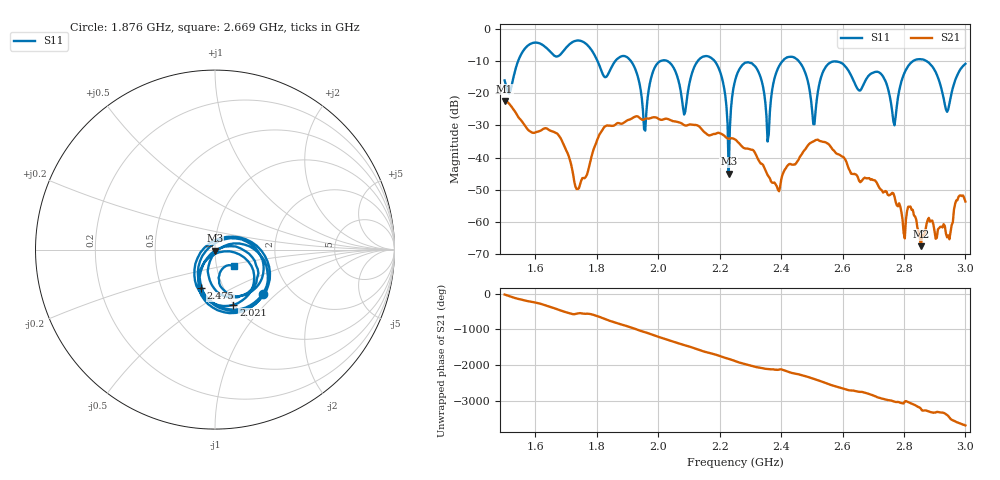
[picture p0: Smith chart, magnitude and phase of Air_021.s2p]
# HZ S RI R 50
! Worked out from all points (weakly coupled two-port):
!   404 points, 1.5 GHz to 3 GHz, reference 50 ohm
!   highest |S21| = -22.40 dB at 1.5 GHz (marker M1); lowest = -67.5 dB at 2.855 GHz (marker M2)
!   lowest |S11| = -45.0 dB at 2.23 GHz (marker M3), VSWR 1.01, Z = 50 - j0.56 ohm
!   |S11| at or under -10 dB: 2.184 GHz to 2.405 GHz (221.4 MHz wide, 9.65 % of centre); 2.457 GHz to 2.83 GHz (372.7 MHz wide, 14.1 % of centre); 2.873 GHz to end of sweep (the widest 3 of 7)
!   S12 and S22 are empty: the file has one direction only
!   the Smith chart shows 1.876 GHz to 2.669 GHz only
!   S11 on the Smith chart (normalised r, x): 1.876 GHz: 1.44, -0.83; 2.021 GHz: 0.99, -0.68; 2.475 GHz: 0.78, -0.36; 2.669 GHz: 1.21, -0.22
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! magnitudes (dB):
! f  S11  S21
! 1.5 GHz  -16.0  -22.4
! 1.753 GHz  -3.9  -46.4
! 1.876 GHz  -8.7  -29.4
! 1.954 GHz  -31.2  -28.2
! 2.002 GHz  -10.3  -28.1
! 2.021 GHz  -9.8  -28.0
! 2.084 GHz  -26.6  -29.9
! 2.181 GHz  -9.7  -32.7
! 2.23 GHz  -45.0  -34.1
! 2.252 GHz  -15.5  -34.5
! 2.315 GHz  -11.6  -38.6
! 2.356 GHz  -35.0  -45.4
! 2.401 GHz  -10.5  -46.7
! 2.475 GHz  -12.8  -37.8
! 2.501 GHz  -25.6  -35.2
! 2.561 GHz  -10.5  -36.6
! 2.669 GHz  -17.3  -46.5
! 2.751 GHz  -19.6  -51.8
! 2.769 GHz  -30.0  -52.2
! 2.855 GHz  -9.4  -67.5
! 2.94 GHz  -25.8  -64.8
! 3 GHz  -10.9  -53.7
